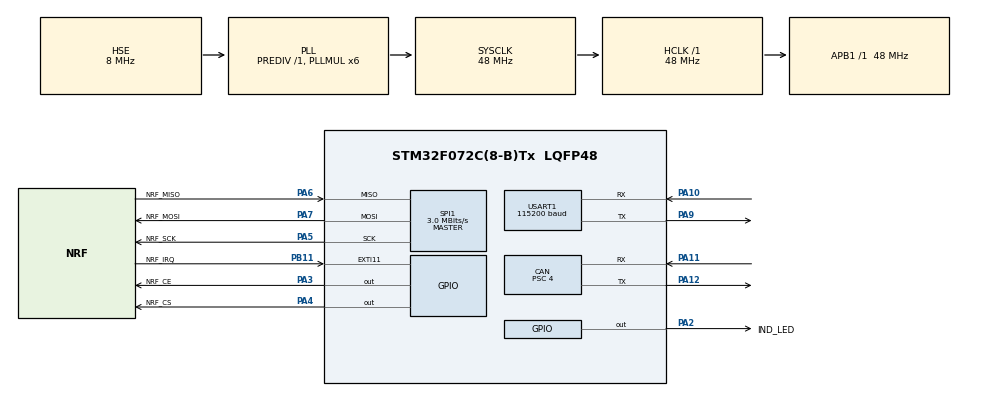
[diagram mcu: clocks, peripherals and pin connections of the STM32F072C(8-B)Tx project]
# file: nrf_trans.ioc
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CAN.BS1=CAN_BS1_6TQ
CAN.BS2=CAN_BS2_5TQ
CAN.CalculateTimeQuantum=83.33333333333333
CAN.Prescaler=4
Dma.Request0=USART1_RX
Dma.Request1=USART1_TX
Dma.Request2=SPI1_RX
Dma.Request3=SPI1_TX
Dma.SPI1_RX.2.Direction=DMA_PERIPH_TO_MEMORY
Dma.SPI1_RX.2.Instance=DMA1_Channel2
Dma.SPI1_RX.2.MemDataAlignment=DMA_MDATAALIGN_BYTE
Dma.SPI1_RX.2.MemInc=DMA_MINC_ENABLE
Dma.SPI1_RX.2.Mode=DMA_CIRCULAR
Dma.SPI1_RX.2.PeriphDataAlignment=DMA_PDATAALIGN_BYTE
Dma.SPI1_RX.2.PeriphInc=DMA_PINC_DISABLE
Dma.SPI1_RX.2.Priority=DMA_PRIORITY_HIGH
Dma.SPI1_TX.3.Direction=DMA_MEMORY_TO_PERIPH
Dma.SPI1_TX.3.Instance=DMA1_Channel3
Dma.SPI1_TX.3.MemDataAlignment=DMA_MDATAALIGN_BYTE
Dma.SPI1_TX.3.MemInc=DMA_MINC_ENABLE
Dma.SPI1_TX.3.Mode=DMA_NORMAL
Dma.SPI1_TX.3.PeriphDataAlignment=DMA_PDATAALIGN_BYTE
Dma.SPI1_TX.3.PeriphInc=DMA_PINC_DISABLE
Dma.SPI1_TX.3.Priority=DMA_PRIORITY_HIGH
Dma.USART1_RX.0.Direction=DMA_PERIPH_TO_MEMORY
Dma.USART1_RX.0.Instance=DMA1_Channel5
Dma.USART1_RX.0.MemDataAlignment=DMA_MDATAALIGN_BYTE
Dma.USART1_RX.0.MemInc=DMA_MINC_ENABLE
Dma.USART1_RX.0.Mode=DMA_CIRCULAR
Dma.USART1_RX.0.PeriphDataAlignment=DMA_PDATAALIGN_BYTE
Dma.USART1_RX.0.PeriphInc=DMA_PINC_DISABLE
Dma.USART1_RX.0.Priority=DMA_PRIORITY_LOW
Dma.USART1_TX.1.Direction=DMA_MEMORY_TO_PERIPH
Dma.USART1_TX.1.Instance=DMA1_Channel4
Dma.USART1_TX.1.MemDataAlignment=DMA_MDATAALIGN_BYTE
Dma.USART1_TX.1.MemInc=DMA_MINC_ENABLE
Dma.USART1_TX.1.Mode=DMA_NORMAL
Dma.USART1_TX.1.PeriphDataAlignment=DMA_PDATAALIGN_BYTE
Dma.USART1_TX.1.PeriphInc=DMA_PINC_DISABLE
Dma.USART1_TX.1.Priority=DMA_PRIORITY_LOW
Mcu.Family=STM32F0
Mcu.Name=STM32F072C(8-B)Tx
Mcu.Package=LQFP48
NVIC.CEC_CAN_IRQn=true\:1\:0\:true\:false\:true\:true\:true
NVIC.DMA1_Channel2_3_IRQn=true\:0\:0\:false\:false\:true\:false\:true
NVIC.DMA1_Channel4_5_6_7_IRQn=true\:0\:0\:false\:false\:true\:false\:true
NVIC.USART1_IRQn=true\:1\:0\:true\:false\:true\:true\:true
PA10.Mode=Asynchronous
PA10.Signal=USART1_RX
PA11.Mode=Master
PA11.Signal=CAN_RX
PA12.Mode=Master
PA12.Signal=CAN_TX
PA13.Mode=Serial_Wire
PA13.Signal=SYS_SWDIO
PA14.Mode=Serial_Wire
PA14.Signal=SYS_SWCLK
PA2.GPIO_Label=IND_LED
PA2.Signal=GPIO_Output
PA3.GPIO_Label=NRF_CE
PA3.Signal=GPIO_Output
PA4.GPIO_Label=NRF_CS
PA4.Signal=GPIO_Output
PA5.GPIO_Label=NRF_SCK
PA5.Mode=Full_Duplex_Master
PA5.Signal=SPI1_SCK
PA6.GPIO_Label=NRF_MISO
PA6.Mode=Full_Duplex_Master
PA6.Signal=SPI1_MISO
PA7.GPIO_Label=NRF_MOSI
PA7.Mode=Full_Duplex_Master
PA7.Signal=SPI1_MOSI
PA9.Mode=Asynchronous
PA9.Signal=USART1_TX
PB11.GPIO_Label=NRF_IRQ
PB11.Signal=GPXTI11
PF0-OSC_IN.Mode=HSE-External-Oscillator
PF0-OSC_IN.Signal=RCC_OSC_IN
PF1-OSC_OUT.Mode=HSE-External-Oscillator
PF1-OSC_OUT.Signal=RCC_OSC_OUT
ProjectManager.HeapSize=0x200
ProjectManager.StackSize=0x400
ProjectManager.TargetToolchain=EWARM V8
RCC.AHBFreq_Value=48000000
RCC.APB1Freq_Value=48000000
RCC.APB1TimFreq_Value=48000000
RCC.HCLKFreq_Value=48000000
RCC.PLLMUL=RCC_PLL_MUL6
RCC.PLLSourceVirtual=RCC_PLLSOURCE_HSE
RCC.SYSCLKFreq_VALUE=48000000
RCC.SYSCLKSource=RCC_SYSCLKSOURCE_PLLCLK
SPI1.BaudRatePrescaler=SPI_BAUDRATEPRESCALER_16
SPI1.CalculateBaudRate=3.0 MBits/s
SPI1.Direction=SPI_DIRECTION_2LINES
SPI1.Mode=SPI_MODE_MASTER
SPI1.VirtualType=VM_MASTER
USART1.BaudRate=115200
USART1.VirtualMode-Asynchronous=VM_ASYNC
board=custom

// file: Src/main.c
/* USER CODE BEGIN Header */
/**
  ******************************************************************************
  * @file           : main.c
  * @brief          : Main program body
  ******************************************************************************
  * @attention
  *
  * <h2><center>&copy; Copyright (c) 2019 STMicroelectronics.
  * All rights reserved.</center></h2>
  *
  * This software component is licensed by ST under BSD 3-Clause license,
  * the "License"; You may not use this file except in compliance with the
  * License. You may obtain a copy of the License at:
  *                        opensource.org/licenses/BSD-3-Clause
  *
  ******************************************************************************
  */
/* USER CODE END Header */

#include "main.h"
#include "can.h"
#include "dma.h"
#include "spi.h"
#include "usart.h"
#include "gpio.h"

/* USER CODE BEGIN Includes */
#include "nrf24l01.h"
#include "simplelib.h"
#include "nrf_comm.h"
#include "stmflash.h"
/* USER CODE END Includes */

/* USER CODE BEGIN PV */
uint8_t Rx_DMA_Buffer[32];

/* USER CODE END PV */

void SystemClock_Config(void);

int main(void)
{

  /* MCU Configuration--------------------------------------------------------*/

  /* Reset of all peripherals, Initializes the Flash interface and the Systick. */
  HAL_Init();

  /* Configure the system clock */
  SystemClock_Config();

  /* Initialize all configured peripherals */
  MX_GPIO_Init();
  MX_DMA_Init();
  MX_CAN_Init();
  MX_SPI1_Init();
  MX_USART1_UART_Init();
  /* USER CODE BEGIN 2 */
  // HAL_UART_Receive_DMA(&huart1, Rx_DMA_Buffer, 32);
  // __HAL_UART_ENABLE_IT(&huart1, UART_IT_IDLE);
  simplelib_init(&huart1, &hcan);
  #ifdef SL_FLASH
  load_prams();
  #endif // SL_FLASH
  #ifdef SL_NRF
  nrf_init(NULL);  // nrf init must after flash load prams!!
  #endif // SL_NRF
  /* USER CODE END 2 */

  /* Infinite loop */
  /* USER CODE BEGIN WHILE */
  while (1)
  {
    simplelib_run();
    #ifdef SL_NRF_COMM
    nrf_main();
    #endif // SL_NRF_COMM
    /* if (nrf_send_flag == 1) {
      nrf_send_flag = 0;
      rx_data_process();
    } */

    /* if (nrf_rx_callback_flag == 1) {
      nrf_rx_callback_flag = 0;
      nrf_rx_date_process();
      // uprintf_to(&huart1, (char*)nrf_rx_data);
    }
    if (nrf_max_rt_callback_flag == 1) {
      nrf_max_rt_callback_flag = 0;

    } */

    /* USER CODE END WHILE */

  }
}

void SystemClock_Config(void)
{
  RCC_OscInitTypeDef RCC_OscInitStruct = {0};
  RCC_ClkInitTypeDef RCC_ClkInitStruct = {0};
  RCC_PeriphCLKInitTypeDef PeriphClkInit = {0};

  /** Initializes the CPU, AHB and APB busses clocks
  */
  RCC_OscInitStruct.OscillatorType = RCC_OSCILLATORTYPE_HSE;
  RCC_OscInitStruct.HSEState = RCC_HSE_ON;
  RCC_OscInitStruct.PLL.PLLState = RCC_PLL_ON;
  RCC_OscInitStruct.PLL.PLLSource = RCC_PLLSOURCE_HSE;
  RCC_OscInitStruct.PLL.PLLMUL = RCC_PLL_MUL6;
  RCC_OscInitStruct.PLL.PREDIV = RCC_PREDIV_DIV1;
  if (HAL_RCC_OscConfig(&RCC_OscInitStruct) != HAL_OK)
  {
    Error_Handler();
  }
  /** Initializes the CPU, AHB and APB busses clocks
  */
  RCC_ClkInitStruct.ClockType = RCC_CLOCKTYPE_HCLK|RCC_CLOCKTYPE_SYSCLK
                              |RCC_CLOCKTYPE_PCLK1;
  RCC_ClkInitStruct.SYSCLKSource = RCC_SYSCLKSOURCE_PLLCLK;
  RCC_ClkInitStruct.AHBCLKDivider = RCC_SYSCLK_DIV1;
  RCC_ClkInitStruct.APB1CLKDivider = RCC_HCLK_DIV1;

  if (HAL_RCC_ClockConfig(&RCC_ClkInitStruct, FLASH_LATENCY_1) != HAL_OK)
  {
    Error_Handler();
  }
  PeriphClkInit.PeriphClockSelection = RCC_PERIPHCLK_USART1;
  PeriphClkInit.Usart1ClockSelection = RCC_USART1CLKSOURCE_PCLK1;
  if (HAL_RCCEx_PeriphCLKConfig(&PeriphClkInit) != HAL_OK)
  {
    Error_Handler();
  }
}

void Error_Handler(void)
{
}

/************************ (C) COPYRIGHT STMicroelectronics *****END OF FILE****/
